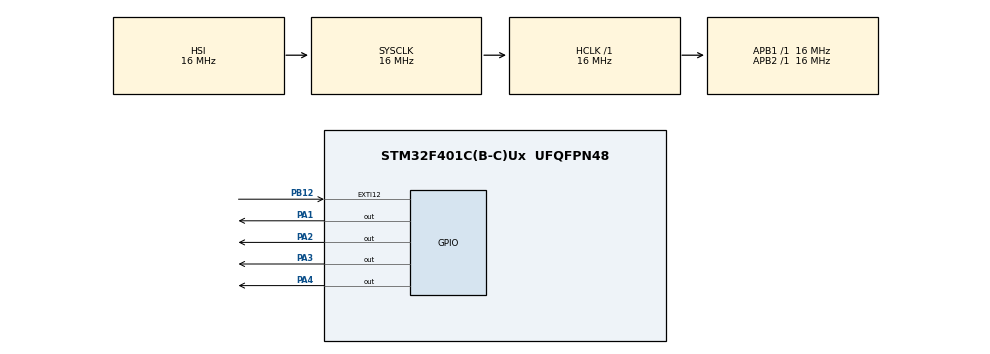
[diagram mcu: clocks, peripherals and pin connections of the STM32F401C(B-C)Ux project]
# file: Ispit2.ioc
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FREERTOS.Tasks01=defaultTask,24,128,StartDefaultTask,Default,NULL,Dynamic,NULL,NULL
FREERTOS.configUSE_NEWLIB_REENTRANT=1
Mcu.Family=STM32F4
Mcu.Name=STM32F401C(B-C)Ux
Mcu.Package=UFQFPN48
NVIC.EXTI15_10_IRQn=true\:5\:0\:false\:false\:true\:true\:true\:true\:true
NVIC.PriorityGroup=NVIC_PRIORITYGROUP_4
NVIC.TIM1_UP_TIM10_IRQn=true\:15\:0\:false\:false\:true\:false\:false\:true\:true
NVIC.TimeBase=TIM1_UP_TIM10_IRQn
NVIC.TimeBaseIP=TIM1
PA1.Signal=GPIO_Output
PA13.Mode=Serial_Wire
PA13.Signal=SYS_JTMS-SWDIO
PA14.Mode=Serial_Wire
PA14.Signal=SYS_JTCK-SWCLK
PA2.Signal=GPIO_Output
PA3.Signal=GPIO_Output
PA4.Signal=GPIO_Output
PB12.GPIO_PuPd=GPIO_PULLDOWN
PB12.Signal=GPXTI12
ProjectManager.HeapSize=0x200
ProjectManager.StackSize=0x400
ProjectManager.TargetToolchain=STM32CubeIDE
RCC.AHBFreq_Value=16000000
RCC.APB1Freq_Value=16000000
RCC.APB2Freq_Value=16000000
RCC.CortexFreq_Value=16000000
RCC.HSE_VALUE=25000000
RCC.HSI_VALUE=16000000
RCC.LSE_VALUE=32768
RCC.SYSCLKFreq_VALUE=16000000
RCC.VCOOutputFreq_Value=192000000
VP_FREERTOS_VS_CMSIS_V2.Mode=CMSIS_V2
VP_SYS_VS_tim1.Mode=TIM1
board=custom

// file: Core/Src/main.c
/* USER CODE BEGIN Header */
/**
  ******************************************************************************
  * @file           : main.c
  * @brief          : Main program body
  ******************************************************************************
  * @attention
  *
  * Copyright (c) 2026 STMicroelectronics.
  * All rights reserved.
  *
  * This software is licensed under terms that can be found in the LICENSE file
  * in the root directory of this software component.
  * If no LICENSE file comes with this software, it is provided AS-IS.
  *
  ******************************************************************************
  */
/* USER CODE END Header */
#include "main.h"
#include "cmsis_os.h"

/* USER CODE BEGIN Includes */
#include "FreeRTOS.h"
#include "task.h"
#include "semphr.h"
#include "stm32f4xx_hal.h"
/* USER CODE END Includes */

/* Definitions for defaultTask */
osThreadId_t defaultTaskHandle;
const osThreadAttr_t defaultTask_attributes = {
  .name = "defaultTask",
  .stack_size = 128 * 4,
  .priority = (osPriority_t) osPriorityNormal,
};
/* USER CODE BEGIN PV */

TaskHandle_t zadatak1handle;
TaskHandle_t zadatak2handle;
TaskHandle_t zadatak3handle;

SemaphoreHandle_t mutexHandler;
SemaphoreHandle_t binaryHandler;
SemaphoreHandle_t countingHandler;

/* USER CODE END PV */

void SystemClock_Config(void);
static void MX_GPIO_Init(void);
void StartDefaultTask(void *argument);

/* USER CODE BEGIN PFP */

void zadatak1(void *nekiParam);
void zadatak2(void *nekiParam);
void zadatak3(void *nekiParam);

/* USER CODE END PFP */

int main(void)
{

  /* MCU Configuration--------------------------------------------------------*/

  /* Reset of all peripherals, Initializes the Flash interface and the Systick. */
  HAL_Init();

  /* Configure the system clock */
  SystemClock_Config();

  /* Initialize all configured peripherals */
  MX_GPIO_Init();

  /* Init scheduler */
  osKernelInitialize();

  /* USER CODE BEGIN RTOS_MUTEX */
  /* add mutexes, ... */

  mutexHandler=xSemaphoreCreateMutex();
  xSemaphoreGive(mutexHandler);

  /* USER CODE END RTOS_MUTEX */

  /* USER CODE BEGIN RTOS_SEMAPHORES */
  /* add semaphores, ... */

  binaryHandler=xSemaphoreCreateBinary();
  xSemaphoreGive(binaryHandler);

  countingHandler=xSemaphoreCreateCounting(2,2);
  xSemaphoreGive(countingHandler);

  /* USER CODE END RTOS_SEMAPHORES */

  /* Create the thread(s) */
  /* creation of defaultTask */
  defaultTaskHandle = osThreadNew(StartDefaultTask, NULL, &defaultTask_attributes);

  /* USER CODE BEGIN RTOS_THREADS */
  /* add threads, ... */

  xTaskCreate(zadatak1, "Zadatak1", 256, NULL, 1, &zadatak1handle);
  xTaskCreate(zadatak2, "Zadatak2", 256, NULL, 1, &zadatak2handle);
  xTaskCreate(zadatak3, "Zadatak3", 256, NULL, 1, &zadatak3handle);

  /* USER CODE END RTOS_THREADS */

  /* Start scheduler */
  osKernelStart();

  /* We should never get here as control is now taken by the scheduler */

  /* Infinite loop */
  while (1)
  {

  }
}

void SystemClock_Config(void)
{
  RCC_OscInitTypeDef RCC_OscInitStruct = {0};
  RCC_ClkInitTypeDef RCC_ClkInitStruct = {0};

  /** Configure the main internal regulator output voltage
  */
  __HAL_RCC_PWR_CLK_ENABLE();
  __HAL_PWR_VOLTAGESCALING_CONFIG(PWR_REGULATOR_VOLTAGE_SCALE2);

  /** Initializes the RCC Oscillators according to the specified parameters
  * in the RCC_OscInitTypeDef structure.
  */
  RCC_OscInitStruct.OscillatorType = RCC_OSCILLATORTYPE_HSI;
  RCC_OscInitStruct.HSIState = RCC_HSI_ON;
  RCC_OscInitStruct.HSICalibrationValue = RCC_HSICALIBRATION_DEFAULT;
  RCC_OscInitStruct.PLL.PLLState = RCC_PLL_NONE;
  if (HAL_RCC_OscConfig(&RCC_OscInitStruct) != HAL_OK)
  {
    Error_Handler();
  }

  /** Initializes the CPU, AHB and APB buses clocks
  */
  RCC_ClkInitStruct.ClockType = RCC_CLOCKTYPE_HCLK|RCC_CLOCKTYPE_SYSCLK
                              |RCC_CLOCKTYPE_PCLK1|RCC_CLOCKTYPE_PCLK2;
  RCC_ClkInitStruct.SYSCLKSource = RCC_SYSCLKSOURCE_HSI;
  RCC_ClkInitStruct.AHBCLKDivider = RCC_SYSCLK_DIV1;
  RCC_ClkInitStruct.APB1CLKDivider = RCC_HCLK_DIV1;
  RCC_ClkInitStruct.APB2CLKDivider = RCC_HCLK_DIV1;

  if (HAL_RCC_ClockConfig(&RCC_ClkInitStruct, FLASH_LATENCY_0) != HAL_OK)
  {
    Error_Handler();
  }
}

static void MX_GPIO_Init(void)
{
  GPIO_InitTypeDef GPIO_InitStruct = {0};

  /* GPIO Ports Clock Enable */
  __HAL_RCC_GPIOA_CLK_ENABLE();
  __HAL_RCC_GPIOB_CLK_ENABLE();

  /*Configure GPIO pin Output Level */
  HAL_GPIO_WritePin(GPIOA, GPIO_PIN_1|GPIO_PIN_2|GPIO_PIN_3|GPIO_PIN_4, GPIO_PIN_RESET);

  /*Configure GPIO pins : PA1 PA2 PA3 PA4 */
  GPIO_InitStruct.Pin = GPIO_PIN_1|GPIO_PIN_2|GPIO_PIN_3|GPIO_PIN_4;
  GPIO_InitStruct.Mode = GPIO_MODE_OUTPUT_PP;
  GPIO_InitStruct.Pull = GPIO_NOPULL;
  GPIO_InitStruct.Speed = GPIO_SPEED_FREQ_LOW;
  HAL_GPIO_Init(GPIOA, &GPIO_InitStruct);

  /*Configure GPIO pin : PB12 */
  GPIO_InitStruct.Pin = GPIO_PIN_12;
  GPIO_InitStruct.Mode = GPIO_MODE_IT_RISING;
  GPIO_InitStruct.Pull = GPIO_PULLDOWN;
  HAL_GPIO_Init(GPIOB, &GPIO_InitStruct);

  /* EXTI interrupt init*/
  HAL_NVIC_SetPriority(EXTI15_10_IRQn, 5, 0);
  HAL_NVIC_EnableIRQ(EXTI15_10_IRQn);

}

/* USER CODE BEGIN 4 */

void zadatak1(void *nekiParam)
{
	for(;;)
	{
		HAL_GPIO_WritePin(GPIOA, GPIO_PIN_1, GPIO_PIN_SET);
		for(int i=0; i<1000000; i++)
		{
		}
		HAL_GPIO_WritePin(GPIOA, GPIO_PIN_1, GPIO_PIN_RESET);
		vTaskDelay(500);
	}
}

void zadatak2(void *nekiParam)
{
	for(;;)
	{
		HAL_GPIO_WritePin(GPIOA, GPIO_PIN_2, GPIO_PIN_SET);
		for(int i=0; i<1000000; i++)
		{
		}
		HAL_GPIO_WritePin(GPIOA, GPIO_PIN_2, GPIO_PIN_RESET);
		vTaskDelay(500);
	}
}

void zadatak3(void *nekiParam)
{
	for(;;)
	{
		HAL_GPIO_WritePin(GPIOA, GPIO_PIN_3, GPIO_PIN_SET);
		for(int i=0; i<1000000; i++)
		{
		}
		HAL_GPIO_WritePin(GPIOA, GPIO_PIN_3, GPIO_PIN_RESET);
		vTaskDelay(500);
	}
}

/*SUSPEND & RESUME*/

void zadatak1(void *nekiParam)
{
	for(;;)
	{
		HAL_GPIO_WritePin(GPIOA, GPIO_PIN_1, GPIO_PIN_SET);
		for(int i=0; i<1000000; i++)
		{
		}
		HAL_GPIO_WritePin(GPIOA, GPIO_PIN_1, GPIO_PIN_RESET);
		vTaskDelay(500);
		vTaskSuspend(NULL);
	}
}

void zadatak2(void *nekiParam)
{
	int brojac=0;
	for(;;)
	{
		HAL_GPIO_WritePin(GPIOA, GPIO_PIN_2, GPIO_PIN_SET);
		for(int i=0; i<1000000; i++)
		{
		}
		HAL_GPIO_WritePin(GPIOA, GPIO_PIN_2, GPIO_PIN_RESET);
		vTaskDelay(500);
		brojac++;
		if(brojac==10)
		{
			brojac=0;
			vTaskResume(zadatak1handle);
		}
	}
}

/*MUTEX & SEMAPHORES*/

void zadatak1(void *nekiParam)
{
	for(;;)
	{
		if(xSemaphoreTake(mutexHandler, portMAX_DELAY)==pdTRUE)
		{
			HAL_GPIO_WritePin(GPIOA, GPIO_PIN_1, GPIO_PIN_SET);
		    for(int i=0; i<1000000; i++)
			{
			}
		    HAL_GPIO_WritePin(GPIOA, GPIO_PIN_1, GPIO_PIN_RESET);
		    xSemaphoreGive(mutexHandler);
		}
		 HAL_GPIO_WritePin(GPIOA, GPIO_PIN_1, GPIO_PIN_RESET);
		 vTaskDelay(500);
	}
}

void zadatak2(void *nekiParam)
{
	for(;;)
	{
		if(xSemaphoreTake(binaryHandler, portMAX_DELAY)==pdTRUE)
		{
			HAL_GPIO_WritePin(GPIOA, GPIO_PIN_2, GPIO_PIN_SET);
		    for(int i=0; i<1000000; i++)
			{
			}
		    HAL_GPIO_WritePin(GPIOA, GPIO_PIN_2, GPIO_PIN_RESET);
		    xSemaphoreGive(binaryHandler);
		}
		 HAL_GPIO_WritePin(GPIOA, GPIO_PIN_2, GPIO_PIN_RESET);
		 vTaskDelay(500);
	}
}

void zadatak3(void *nekiParam)
{
	for(;;)
	{
		if(xSemaphoreTake(countingHandler, portMAX_DELAY)==pdTRUE)
		{
			HAL_GPIO_WritePin(GPIOA, GPIO_PIN_3, GPIO_PIN_SET);
		    for(int i=0; i<1000000; i++)
			{
			}
		    HAL_GPIO_WritePin(GPIOA, GPIO_PIN_3, GPIO_PIN_RESET);
		    xSemaphoreGive(countingHandler);
		}
		 HAL_GPIO_WritePin(GPIOA, GPIO_PIN_3, GPIO_PIN_RESET);
		 vTaskDelay(500);
	}
}

/*HARDWARE INTERRUPT*/

void HAL_GPIO_EXTI_Callback(uint16_t GPIO_Pin)
{
	if(GPIO_Pin==GPIO_PIN_12)
	{
		HAL_GPIO_TogglePin(GPIOA, GPIO_PIN_4);
	}
}

/*TIMER INTERRUPT*/

/* USER CODE END 4 */

void StartDefaultTask(void *argument)
{
  for(;;)
  {
    osDelay(1);
  }
}

void HAL_TIM_PeriodElapsedCallback(TIM_HandleTypeDef *htim)
{
  if (htim->Instance == TIM1)
  {
    HAL_IncTick();
  }
}

void Error_Handler(void)
{
  __disable_irq();
  while (1)
  {
  }
}
